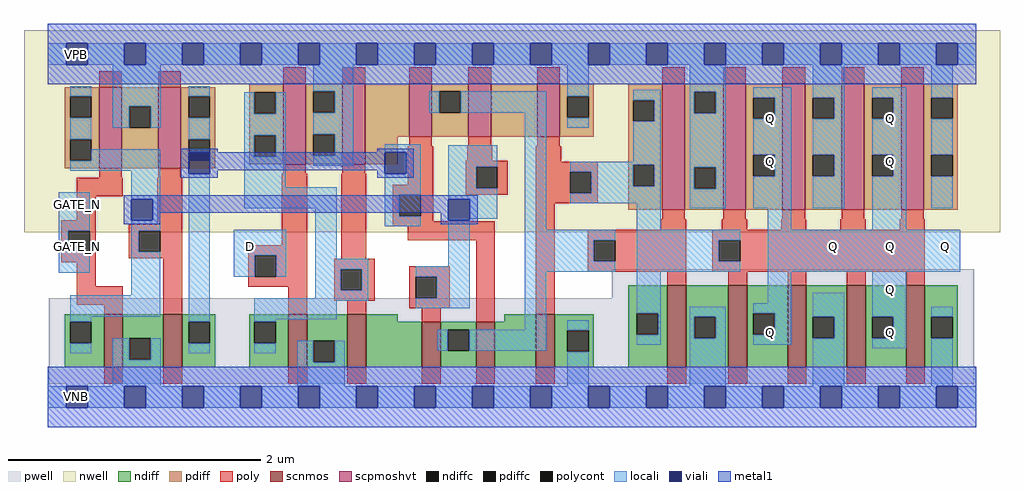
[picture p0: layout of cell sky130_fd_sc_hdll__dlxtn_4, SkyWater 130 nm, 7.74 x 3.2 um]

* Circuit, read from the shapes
.subckt sky130_fd_sc_hdll__dlxtn_4 D GATE_N VGND VNB VPB VPWR Q
XM1 VGND GATE_N n1 VNB sky130_fd_pr__nfet_01v8 w=0.42 l=0.15
XM2 n2 n1 VGND VNB sky130_fd_pr__nfet_01v8 w=0.42 l=0.15
XM3 VGND D n3 VNB sky130_fd_pr__nfet_01v8 w=0.42 l=0.15
XM4 n4 n3 VGND VNB sky130_fd_pr__nfet_01v8 w=0.42 l=0.15
XM5 n5 n1 n4 VNB sky130_fd_pr__nfet_01v8 w=0.36 l=0.15
XM6 n6 n2 n5 VNB sky130_fd_pr__nfet_01v8 w=0.36 l=0.15
XM7 VGND n7 n6 VNB sky130_fd_pr__nfet_01v8 w=0.42 l=0.15
XM8 VGND n5 n7 VNB sky130_fd_pr__nfet_01v8 w=0.65 l=0.15
XM9 Q n7 VGND VNB sky130_fd_pr__nfet_01v8 w=0.65 l=0.15 m=4
XM10 VPWR GATE_N n1 VPB sky130_fd_pr__pfet_01v8_hvt w=0.64 l=0.18
XM11 n2 n1 VPWR VPB sky130_fd_pr__pfet_01v8_hvt w=0.64 l=0.18
XM12 VPWR D n3 VPB sky130_fd_pr__pfet_01v8_hvt w=0.64 l=0.18
XM13 n8 n3 VPWR VPB sky130_fd_pr__pfet_01v8_hvt w=0.64 l=0.18
XM14 n5 n2 n8 VPB sky130_fd_pr__pfet_01v8_hvt w=0.42 l=0.18
XM15 n9 n1 n5 VPB sky130_fd_pr__pfet_01v8_hvt w=0.42 l=0.18
XM16 VPWR n7 n9 VPB sky130_fd_pr__pfet_01v8_hvt w=0.42 l=0.18
XM17 VPWR n5 n7 VPB sky130_fd_pr__pfet_01v8_hvt w=1 l=0.18
XM18 Q n7 VPWR VPB sky130_fd_pr__pfet_01v8_hvt w=1 l=0.18 m=4
.ends

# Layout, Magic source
magic
tech sky130A
magscale 1 2
<< nwell >>
rect -38 261 1510 582
<< pwell >>
rect 894 157 1469 203
rect 1 21 1469 157
rect 29 -17 63 21
<< scnmos >>
rect 89 47 119 131
rect 183 47 213 131
rect 381 47 411 131
rect 475 47 505 131
rect 593 47 623 119
rect 679 47 709 119
rect 774 47 804 131
rect 982 47 1012 177
rect 1079 47 1109 177
rect 1173 47 1203 177
rect 1267 47 1297 177
rect 1361 47 1391 177
<< scpmoshvt >>
rect 81 363 117 491
rect 175 363 211 491
rect 373 369 409 497
rect 467 369 503 497
rect 573 413 609 497
rect 667 413 703 497
rect 776 413 812 497
rect 974 297 1010 497
rect 1071 297 1107 497
rect 1165 297 1201 497
rect 1259 297 1295 497
rect 1353 297 1389 497
<< ndiff >>
rect 27 119 89 131
rect 27 85 35 119
rect 69 85 89 119
rect 27 47 89 85
rect 119 93 183 131
rect 119 59 129 93
rect 163 59 183 93
rect 119 47 183 59
rect 213 119 265 131
rect 213 85 223 119
rect 257 85 265 119
rect 213 47 265 85
rect 319 119 381 131
rect 319 85 327 119
rect 361 85 381 119
rect 319 47 381 85
rect 411 89 475 131
rect 411 55 421 89
rect 455 55 475 89
rect 411 47 475 55
rect 505 119 555 131
rect 920 133 982 177
rect 724 119 774 131
rect 505 47 593 119
rect 623 107 679 119
rect 623 73 634 107
rect 668 73 679 107
rect 623 47 679 73
rect 709 47 774 119
rect 804 106 866 131
rect 804 72 824 106
rect 858 72 866 106
rect 804 47 866 72
rect 920 99 934 133
rect 968 99 982 133
rect 920 47 982 99
rect 1012 127 1079 177
rect 1012 93 1025 127
rect 1059 93 1079 127
rect 1012 47 1079 93
rect 1109 133 1173 177
rect 1109 99 1119 133
rect 1153 99 1173 133
rect 1109 47 1173 99
rect 1203 127 1267 177
rect 1203 93 1213 127
rect 1247 93 1267 127
rect 1203 47 1267 93
rect 1297 127 1361 177
rect 1297 93 1307 127
rect 1341 93 1361 127
rect 1297 47 1361 93
rect 1391 127 1443 177
rect 1391 93 1401 127
rect 1435 93 1443 127
rect 1391 47 1443 93
<< pdiff >>
rect 27 477 81 491
rect 27 443 35 477
rect 69 443 81 477
rect 27 409 81 443
rect 27 375 35 409
rect 69 375 81 409
rect 27 363 81 375
rect 117 461 175 491
rect 117 427 129 461
rect 163 427 175 461
rect 117 363 175 427
rect 211 477 265 491
rect 211 443 223 477
rect 257 443 265 477
rect 211 409 265 443
rect 211 375 223 409
rect 257 375 265 409
rect 211 363 265 375
rect 319 483 373 497
rect 319 449 327 483
rect 361 449 373 483
rect 319 415 373 449
rect 319 381 327 415
rect 361 381 373 415
rect 319 369 373 381
rect 409 485 467 497
rect 409 451 421 485
rect 455 451 467 485
rect 409 417 467 451
rect 409 383 421 417
rect 455 383 467 417
rect 409 369 467 383
rect 503 413 573 497
rect 609 485 667 497
rect 609 451 621 485
rect 655 451 667 485
rect 609 413 667 451
rect 703 413 776 497
rect 812 477 866 497
rect 812 443 824 477
rect 858 443 866 477
rect 812 413 866 443
rect 920 471 974 497
rect 920 437 928 471
rect 962 437 974 471
rect 503 369 555 413
rect 920 368 974 437
rect 920 334 928 368
rect 962 334 974 368
rect 920 297 974 334
rect 1010 484 1071 497
rect 1010 450 1025 484
rect 1059 450 1071 484
rect 1010 364 1071 450
rect 1010 330 1025 364
rect 1059 330 1071 364
rect 1010 297 1071 330
rect 1107 475 1165 497
rect 1107 441 1119 475
rect 1153 441 1165 475
rect 1107 384 1165 441
rect 1107 350 1119 384
rect 1153 350 1165 384
rect 1107 297 1165 350
rect 1201 475 1259 497
rect 1201 441 1213 475
rect 1247 441 1259 475
rect 1201 384 1259 441
rect 1201 350 1213 384
rect 1247 350 1259 384
rect 1201 297 1259 350
rect 1295 475 1353 497
rect 1295 441 1307 475
rect 1341 441 1353 475
rect 1295 384 1353 441
rect 1295 350 1307 384
rect 1341 350 1353 384
rect 1295 297 1353 350
rect 1389 475 1443 497
rect 1389 441 1401 475
rect 1435 441 1443 475
rect 1389 384 1443 441
rect 1389 350 1401 384
rect 1435 350 1443 384
rect 1389 297 1443 350
<< ndiffc >>
rect 35 85 69 119
rect 129 59 163 93
rect 223 85 257 119
rect 327 85 361 119
rect 421 55 455 89
rect 634 73 668 107
rect 824 72 858 106
rect 934 99 968 133
rect 1025 93 1059 127
rect 1119 99 1153 133
rect 1213 93 1247 127
rect 1307 93 1341 127
rect 1401 93 1435 127
<< pdiffc >>
rect 35 443 69 477
rect 35 375 69 409
rect 129 427 163 461
rect 223 443 257 477
rect 223 375 257 409
rect 327 449 361 483
rect 327 381 361 415
rect 421 451 455 485
rect 421 383 455 417
rect 621 451 655 485
rect 824 443 858 477
rect 928 437 962 471
rect 928 334 962 368
rect 1025 450 1059 484
rect 1025 330 1059 364
rect 1119 441 1153 475
rect 1119 350 1153 384
rect 1213 441 1247 475
rect 1213 350 1247 384
rect 1307 441 1341 475
rect 1307 350 1341 384
rect 1401 441 1435 475
rect 1401 350 1435 384
<< poly >>
rect 81 491 117 517
rect 175 491 211 517
rect 373 497 409 523
rect 467 497 503 523
rect 573 497 609 523
rect 667 497 703 523
rect 776 497 812 523
rect 974 497 1010 523
rect 1071 497 1107 523
rect 1165 497 1201 523
rect 1259 497 1295 523
rect 1353 497 1389 523
rect 573 398 609 413
rect 667 398 703 413
rect 776 398 812 413
rect 81 348 117 363
rect 175 348 211 363
rect 373 354 409 369
rect 467 354 503 369
rect 46 318 119 348
rect 46 280 76 318
rect 21 264 76 280
rect 173 274 213 348
rect 21 230 32 264
rect 66 230 76 264
rect 21 214 76 230
rect 128 264 213 274
rect 128 230 144 264
rect 178 230 213 264
rect 371 241 411 354
rect 128 220 213 230
rect 46 176 76 214
rect 46 146 119 176
rect 89 131 119 146
rect 183 131 213 220
rect 318 225 411 241
rect 318 191 328 225
rect 362 191 411 225
rect 465 219 505 354
rect 571 337 611 398
rect 665 375 705 398
rect 547 321 611 337
rect 663 365 729 375
rect 663 331 679 365
rect 713 331 729 365
rect 663 321 729 331
rect 774 373 814 398
rect 774 357 872 373
rect 774 323 828 357
rect 862 323 872 357
rect 547 287 557 321
rect 591 287 611 321
rect 547 279 611 287
rect 774 307 872 323
rect 547 271 709 279
rect 571 249 709 271
rect 318 175 411 191
rect 381 131 411 175
rect 454 203 518 219
rect 454 169 464 203
rect 498 169 518 203
rect 454 153 518 169
rect 573 191 637 207
rect 573 157 583 191
rect 617 157 637 191
rect 475 131 505 153
rect 573 141 637 157
rect 593 119 623 141
rect 679 119 709 249
rect 774 131 804 307
rect 974 282 1010 297
rect 1071 282 1107 297
rect 1165 282 1201 297
rect 1259 282 1295 297
rect 1353 282 1389 297
rect 972 265 1012 282
rect 1069 265 1109 282
rect 1163 265 1203 282
rect 1257 265 1297 282
rect 1351 265 1391 282
rect 856 249 1012 265
rect 856 215 866 249
rect 900 215 1012 249
rect 856 199 1012 215
rect 1054 249 1391 265
rect 1054 215 1064 249
rect 1098 215 1391 249
rect 1054 199 1391 215
rect 982 177 1012 199
rect 1079 177 1109 199
rect 1173 177 1203 199
rect 1267 177 1297 199
rect 1361 177 1391 199
rect 89 21 119 47
rect 183 21 213 47
rect 381 21 411 47
rect 475 21 505 47
rect 593 21 623 47
rect 679 21 709 47
rect 774 21 804 47
rect 982 21 1012 47
rect 1079 21 1109 47
rect 1173 21 1203 47
rect 1267 21 1297 47
rect 1361 21 1391 47
<< polycont >>
rect 32 230 66 264
rect 144 230 178 264
rect 328 191 362 225
rect 679 331 713 365
rect 828 323 862 357
rect 557 287 591 321
rect 464 169 498 203
rect 583 157 617 191
rect 866 215 900 249
rect 1064 215 1098 249
<< locali >>
rect 0 527 29 561
rect 63 527 121 561
rect 155 527 213 561
rect 247 527 305 561
rect 339 527 397 561
rect 431 527 489 561
rect 523 527 581 561
rect 615 527 673 561
rect 707 527 765 561
rect 799 527 857 561
rect 891 527 949 561
rect 983 527 1041 561
rect 1075 527 1133 561
rect 1167 527 1225 561
rect 1259 527 1317 561
rect 1351 527 1409 561
rect 1443 527 1472 561
rect 35 477 69 493
rect 35 409 69 443
rect 103 461 179 527
rect 103 427 129 461
rect 163 427 179 461
rect 223 477 257 493
rect 421 485 484 527
rect 223 409 257 443
rect 69 375 178 393
rect 35 359 178 375
rect 17 264 66 325
rect 17 230 32 264
rect 17 197 66 230
rect 132 314 178 359
rect 166 280 178 314
rect 132 264 178 280
rect 132 230 144 264
rect 132 161 178 230
rect 35 127 178 161
rect 35 119 69 127
rect 223 119 257 354
rect 311 449 327 483
rect 361 449 377 483
rect 311 415 377 449
rect 311 381 327 415
rect 361 381 377 415
rect 311 333 377 381
rect 455 451 484 485
rect 605 451 621 485
rect 655 451 790 485
rect 421 417 484 451
rect 455 383 484 417
rect 421 367 484 383
rect 534 388 591 401
rect 568 354 591 388
rect 311 299 458 333
rect 295 225 378 265
rect 295 191 328 225
rect 362 191 378 225
rect 424 219 458 299
rect 534 321 591 354
rect 534 287 557 321
rect 534 271 591 287
rect 635 365 713 399
rect 635 331 679 365
rect 635 314 713 331
rect 669 283 713 314
rect 424 203 508 219
rect 635 207 669 280
rect 424 169 464 203
rect 498 169 508 203
rect 424 157 508 169
rect 35 69 69 85
rect 103 59 129 93
rect 163 59 179 93
rect 223 69 257 85
rect 327 153 508 157
rect 583 191 669 207
rect 617 157 669 191
rect 327 123 458 153
rect 583 141 669 157
rect 756 265 790 451
rect 824 477 858 527
rect 824 427 858 443
rect 928 471 972 487
rect 962 437 972 471
rect 928 373 972 437
rect 828 368 972 373
rect 828 357 928 368
rect 862 334 928 357
rect 962 334 972 368
rect 862 323 972 334
rect 828 307 972 323
rect 934 265 972 307
rect 1018 484 1075 527
rect 1018 450 1025 484
rect 1059 450 1075 484
rect 1018 364 1075 450
rect 1018 330 1025 364
rect 1059 330 1075 364
rect 1018 299 1075 330
rect 1119 475 1179 491
rect 1153 441 1179 475
rect 1119 384 1179 441
rect 1153 350 1179 384
rect 1119 299 1179 350
rect 1213 475 1263 527
rect 1247 441 1263 475
rect 1213 384 1263 441
rect 1247 350 1263 384
rect 1213 299 1263 350
rect 1307 475 1361 491
rect 1341 441 1361 475
rect 1307 384 1361 441
rect 1341 350 1361 384
rect 1142 265 1179 299
rect 1307 265 1361 350
rect 1401 475 1435 527
rect 1401 384 1435 441
rect 1401 299 1435 350
rect 756 249 900 265
rect 756 215 866 249
rect 756 199 900 215
rect 934 249 1098 265
rect 934 215 1064 249
rect 934 199 1098 215
rect 1142 199 1447 265
rect 327 119 361 123
rect 756 107 790 199
rect 934 133 972 199
rect 1142 149 1179 199
rect 327 69 361 85
rect 103 17 179 59
rect 395 55 421 89
rect 455 55 471 89
rect 618 73 634 107
rect 668 73 790 107
rect 824 106 858 122
rect 395 17 471 55
rect 968 99 972 133
rect 934 83 972 99
rect 1018 127 1075 143
rect 1018 93 1025 127
rect 1059 93 1075 127
rect 824 17 858 72
rect 1018 17 1075 93
rect 1119 133 1179 149
rect 1153 99 1179 133
rect 1119 83 1179 99
rect 1213 127 1263 165
rect 1247 93 1263 127
rect 1213 17 1263 93
rect 1307 127 1361 199
rect 1341 93 1361 127
rect 1307 77 1361 93
rect 1401 127 1435 143
rect 1401 17 1435 93
rect 0 -17 29 17
rect 63 -17 121 17
rect 155 -17 213 17
rect 247 -17 305 17
rect 339 -17 397 17
rect 431 -17 489 17
rect 523 -17 581 17
rect 615 -17 673 17
rect 707 -17 765 17
rect 799 -17 857 17
rect 891 -17 949 17
rect 983 -17 1041 17
rect 1075 -17 1133 17
rect 1167 -17 1225 17
rect 1259 -17 1317 17
rect 1351 -17 1409 17
rect 1443 -17 1472 17
<< viali >>
rect 29 527 63 561
rect 121 527 155 561
rect 213 527 247 561
rect 305 527 339 561
rect 397 527 431 561
rect 489 527 523 561
rect 581 527 615 561
rect 673 527 707 561
rect 765 527 799 561
rect 857 527 891 561
rect 949 527 983 561
rect 1041 527 1075 561
rect 1133 527 1167 561
rect 1225 527 1259 561
rect 1317 527 1351 561
rect 1409 527 1443 561
rect 132 280 166 314
rect 223 375 257 388
rect 223 354 257 375
rect 534 354 568 388
rect 635 280 669 314
rect 29 -17 63 17
rect 121 -17 155 17
rect 213 -17 247 17
rect 305 -17 339 17
rect 397 -17 431 17
rect 489 -17 523 17
rect 581 -17 615 17
rect 673 -17 707 17
rect 765 -17 799 17
rect 857 -17 891 17
rect 949 -17 983 17
rect 1041 -17 1075 17
rect 1133 -17 1167 17
rect 1225 -17 1259 17
rect 1317 -17 1351 17
rect 1409 -17 1443 17
<< metal1 >>
rect 0 561 1472 592
rect 0 527 29 561
rect 63 527 121 561
rect 155 527 213 561
rect 247 527 305 561
rect 339 527 397 561
rect 431 527 489 561
rect 523 527 581 561
rect 615 527 673 561
rect 707 527 765 561
rect 799 527 857 561
rect 891 527 949 561
rect 983 527 1041 561
rect 1075 527 1133 561
rect 1167 527 1225 561
rect 1259 527 1317 561
rect 1351 527 1409 561
rect 1443 527 1472 561
rect 0 496 1472 527
rect 211 388 269 394
rect 522 388 580 394
rect 211 354 223 388
rect 257 360 534 388
rect 257 354 269 360
rect 211 348 269 354
rect 522 354 534 360
rect 568 354 580 388
rect 522 348 580 354
rect 120 314 682 320
rect 120 280 132 314
rect 166 292 635 314
rect 166 280 178 292
rect 120 274 178 280
rect 623 280 635 292
rect 669 280 682 314
rect 623 274 682 280
rect 0 17 1472 48
rect 0 -17 29 17
rect 63 -17 121 17
rect 155 -17 213 17
rect 247 -17 305 17
rect 339 -17 397 17
rect 431 -17 489 17
rect 523 -17 581 17
rect 615 -17 673 17
rect 707 -17 765 17
rect 799 -17 857 17
rect 891 -17 949 17
rect 983 -17 1041 17
rect 1075 -17 1133 17
rect 1167 -17 1225 17
rect 1259 -17 1317 17
rect 1351 -17 1409 17
rect 1443 -17 1472 17
rect 0 -48 1472 -17
<< labels >>
flabel locali s 305 221 339 255 0 FreeSans 200 0 0 0 D
port 1 nsew signal input
flabel locali s 30 221 64 255 0 FreeSans 200 0 0 0 GATE_N
port 2 nsew signal input
flabel locali s 1129 357 1163 391 0 FreeSans 200 0 0 0 Q
port 7 nsew signal output
flabel locali s 30 289 64 323 0 FreeSans 200 0 0 0 GATE_N
port 2 nsew signal input
flabel locali s 1129 425 1163 459 0 FreeSans 200 0 0 0 Q
port 7 nsew signal output
flabel locali s 1129 85 1163 119 0 FreeSans 200 0 0 0 Q
port 7 nsew signal output
flabel locali s 1407 221 1441 255 0 FreeSans 200 0 0 0 Q
port 7 nsew signal output
flabel locali s 1229 221 1263 255 0 FreeSans 200 0 0 0 Q
port 7 nsew signal output
flabel locali s 1320 221 1354 255 0 FreeSans 200 0 0 0 Q
port 7 nsew signal output
flabel locali s 1319 357 1353 391 0 FreeSans 200 0 0 0 Q
port 7 nsew signal output
flabel locali s 1319 425 1353 459 0 FreeSans 200 0 0 0 Q
port 7 nsew signal output
flabel locali s 1319 153 1353 187 0 FreeSans 200 0 0 0 Q
port 7 nsew signal output
flabel locali s 1319 85 1353 119 0 FreeSans 200 0 0 0 Q
port 7 nsew signal output
flabel pwell s 29 -17 63 17 0 FreeSans 200 0 0 0 VNB
port 4 nsew ground bidirectional
flabel nwell s 29 527 63 561 0 FreeSans 200 0 0 0 VPB
port 5 nsew power bidirectional
flabel metal1 s 29 527 63 561 0 FreeSans 200 0 0 0 VPWR
port 6 nsew power bidirectional
flabel metal1 s 29 -17 63 17 0 FreeSans 200 0 0 0 VGND
port 3 nsew ground bidirectional
rlabel comment s 0 0 0 0 4 dlxtn_4
<< properties >>
string LEFsite unithd
string LEFclass CORE
string FIXED_BBOX 0 0 1472 544
string GDS_FILE $PDKPATH/libs.ref/sky130_fd_sc_hdll/gds/sky130_fd_sc_hdll.gds
string LEFsymmetry X Y R90
string GDS_END 1215790
string GDS_START 1203666
string LEFproperties maskLayoutSubType "abstract" prCellType "standard" originalViewName "layout"
<< end >>
